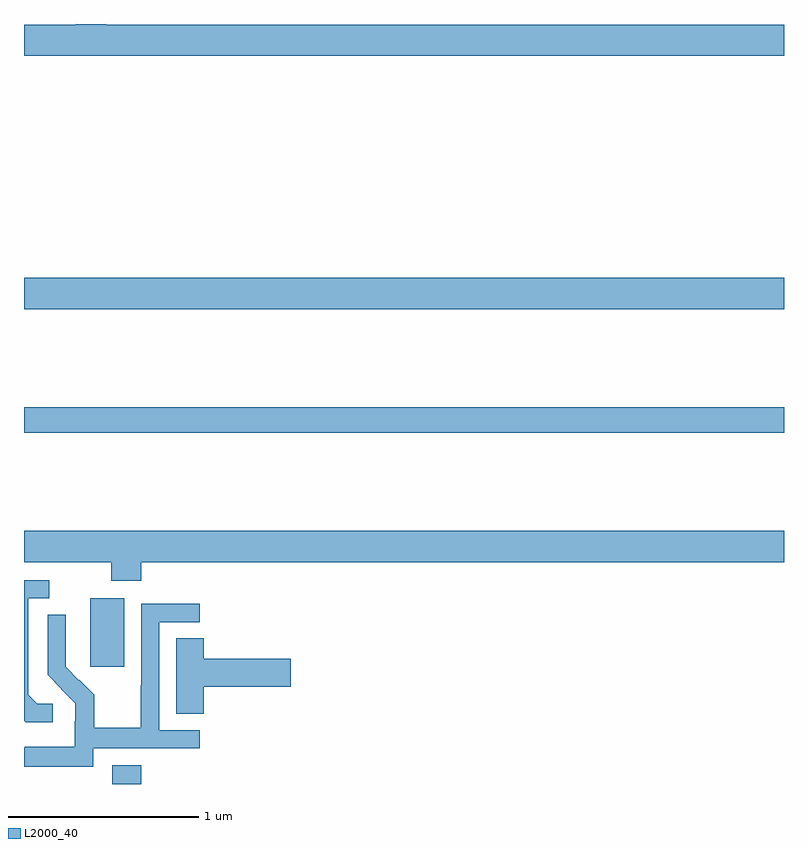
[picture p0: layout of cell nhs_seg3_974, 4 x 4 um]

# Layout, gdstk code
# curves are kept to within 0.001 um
import gdstk
lib = gdstk.Library(unit=1e-6, precision=1e-09)
def R(c, l, rs):  # rectangles x0, y0, x1, y1
    for r in rs: c.add(gdstk.rectangle(r[:2], r[2:], *l))
def P(c, l, *ps):  # polygons
    for p in ps: c.add(gdstk.Polygon(p, *l))
L2000_40 = (2000, 40)

nhs_seg3_974 = lib.new_cell('nhs_seg3_974')
R(nhs_seg3_974, L2000_40, [(161.465,714.4,161.618,714.499), (161.348,715.017,161.527,715.378), (161,716.248,165,716.384), (161,716.9,165,717.064)])
P(nhs_seg3_974, L2000_40, [(165,718.396),(161.432,718.396),(161.432,718.4),(161.272,718.4),(161.272,718.396),(161,718.396),(161,718.232),(165,718.232)],
  [(161.618,715.568),(165,715.568),(165,715.732),(161,715.732),(161,715.568),(161.458,715.568),(161.458,715.469),(161.618,715.469)],
  [(161.152,714.822),(161.07,714.822),(161.023,714.869),(161.023,715.377),(161.134,715.377),(161.134,715.473),(161,715.473),(161,714.733),(161.008,714.725),(161.152,714.725)],
  [(161.364,714.588),(161.926,714.588),(161.926,714.684),(161.712,714.684),(161.712,715.251),(161.926,715.251),(161.926,715.35),(161.616,715.35),(161.616,714.92),(161.614,714.92),(161.614,714.697),(161.369,714.697),(161.369,714.871),(161.292,714.948),(161.289,714.945),(161.219,715.016),(161.22,715.292),(161.124,715.292),(161.124,714.974),(161.27,714.826),(161.27,714.729),(161.268,714.729),(161.268,714.595),(161.005,714.595),(161.005,714.591),(161,714.591),(161,714.491),(161.364,714.491)],
  [(161.945,714.911),(162.403,714.911),(162.403,715.058),(161.945,715.058),(161.945,715.166),(161.801,715.166),(161.801,714.769),(161.945,714.769)])

lib.write_gds('nhs_seg3_974.gds')
